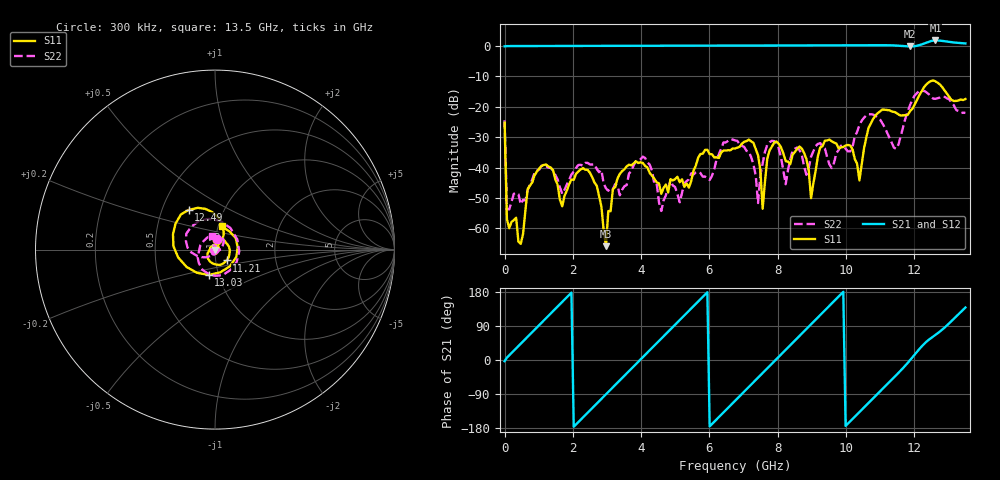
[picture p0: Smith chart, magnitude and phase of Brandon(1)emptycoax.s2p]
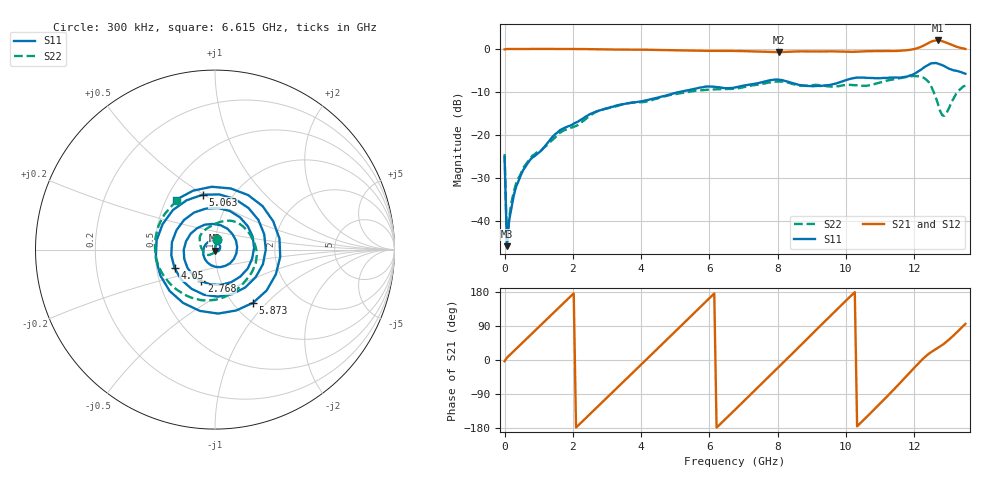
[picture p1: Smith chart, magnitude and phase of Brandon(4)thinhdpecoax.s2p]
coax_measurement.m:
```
%Constants
eps0=8.85418782e-12; % F/m
mu0=1.2566370614e-6; % H/m
c0=1/sqrt(eps0*mu0);
eta0 = sqrt(mu0/eps0);
width1 = 0.005; %1/2 cm
width2 = 0.01; % 1 cm
width3 = 0.02; % 2 cm
%% Get data
air_file = 'Brandon(1)emptycoax.s2p';
frequency = dlmread(air_file,' ',9,0,[9 0 209 0])/1e9;
air_m11 = dlmread(air_file,' ',9,1,[9 1 209 1]);
air_p11 = dlmread(air_file,' ',9,2,[9 2 209 2]);
air_m21 = dlmread(air_file,' ',9,3,[9 3 209 3]);
air_p21 = dlmread(air_file,' ',9,4,[9 4 209 4]);
air_m12 = dlmread(air_file,' ',9,5,[9 5 209 5]);
air_p12 = dlmread(air_file,' ',9,6,[9 6 209 6]);
amp21=10.^(air_m21/20);
phase21=unwrap(air_p21/180*pi);
amp12=10.^(air_m12/20);
phase12=unwrap(air_p12/180*pi);
s21_a=amp21.*exp(1i*phase21);
s12_a=amp12.*exp(1i*phase12);

thin_file = 'Brandon(4)thinhdpecoax.s2p';
thin_m11 = dlmread(thin_file,' ',9,1,[9 1 209 1]);
thin_p11 = dlmread(thin_file,' ',9,2,[9 2 209 2]);
thin_m21 = dlmread(thin_file,' ',9,3,[9 3 209 3]);
thin_p21 = dlmread(thin_file,' ',9,4,[9 4 209 4]);
thin_m12 = dlmread(thin_file,' ',9,5,[9 5 209 5]);
thin_p12 = dlmread(thin_file,' ',9,6,[9 6 209 6]);
thin_amp21=10.^(thin_m21/20);
thin_phase21=unwrap(thin_p21/180*pi);
thin_amp12=10.^(thin_m12/20);
thin_phase12=unwrap(thin_p12/180*pi);
s21_thin=thin_amp21.*exp(1i*thin_phase21);
s12_thin=thin_amp12.*exp(1i*thin_phase12);

medium_file = 'Brandon(3)medhdpecoax.s2p';
med_m11 = dlmread(medium_file,' ',9,1,[9 1 209 1]);
med_p11 = dlmread(medium_file,' ',9,2,[9 2 209 2]);
med_m21 = dlmread(medium_file,' ',9,3,[9 3 209 3]);
med_p21 = dlmread(medium_file,' ',9,4,[9 4 209 4]);
med_m12 = dlmread(medium_file,' ',9,5,[9 5 209 5]);
med_p12 = dlmread(medium_file,' ',9,6,[9 6 209 6]);
med_amp21=10.^(med_m21/20);
med_phase21=unwrap(med_p21/180*pi);
med_amp12=10.^(med_m12/20);
med_phase12=unwrap(med_p12/180*pi);
s21_med=med_amp21.*exp(1i*med_phase21);
s12_med=med_amp12.*exp(1i*med_phase12);

thick_file = 'Brandon(2)thickhdpecoax.s2p';
thick_m11 = dlmread(thick_file,' ',9,1,[9 1 209 1]);
thick_p11 = dlmread(thick_file,' ',9,2,[9 2 209 2]);
thick_m21 = dlmread(thick_file,' ',9,3,[9 3 209 3]);
thick_p21 = dlmread(thick_file,' ',9,4,[9 4 209 4]);
thick_m12 = dlmread(thick_file,' ',9,5,[9 5 209 5]);
thick_p12 = dlmread(thick_file,' ',9,6,[9 6 209 6]);
thick_amp21=10.^(thick_m21/20);
thick_phase21=unwrap(thick_p21/180*pi);
thick_amp12=10.^(thick_m12/20);
thick_phase12=unwrap(thick_p12/180*pi);
s21_thick=thick_amp21.*exp(1i*thick_phase21);
s12_thick=thick_amp12.*exp(1i*thick_phase12);

%waveguide propagation factor in air (no sample)
omega21=2*pi*air_p21;
g021=1i*sqrt(omega21.*omega21*1*1/c0/c0);
omega12=2*pi*air_p12;
g012=1i*sqrt(omega12.*omega12*1*1/c0/c0);
time21=abs(ifft(s21_a(:,1),2001));
time12=abs(ifft(s21_med(:,1),2001));

%{
thin_s21=s21_thin.*exp(-g021*width1);
thin_s12=s12_thin.*exp(-g012*width1);
%thin_s21=s21_thin./s21_a.*exp(-g021*width1);
%thin_s12=s12_thin./s12_a.*exp(-g012*width1);
thin_erx = zeros(size(frequency));
for i=1:length(frequency)
    f=frequency(i);
    tt = fsolve(@(xx) get_s21v2(xx,f,width1,thin_s21(i),thin_s12(i)),[1;0]);
    thin_erx(i)=tt(1)+1i*tt(2);
    
end

med_s21=s21_med./s21_a.*exp(-g021*width2);
med_s12=s12_med./s12_a.*exp(-g012*width2);
med_erx = zeros(size(frequency));
for i=1:length(frequency)
    f=frequency(i);
    tt = fsolve(@(xx) get_s21v2(xx,f,width2,med_s21(i),med_s12(i)),[1;0]);
    med_erx(i)=tt(1)+1i*tt(2);
    
end

thick_s21=s21_thick./s21_a.*exp(-g021*width3);
thick_s12=s12_thick./s12_a.*exp(-g012*width3);
thick_erx = zeros(size(frequency));
for i=1:length(frequency)
    f=frequency(i);
    tt = fsolve(@(xx) get_s21v2(xx,f,width3,thick_s21(i),thick_s12(i)),[1;0]);
    thick_erx(i)=tt(1)+1i*tt(2);
    
end
%}
subplot(2,2,1)
plot(frequency, air_m11, frequency, thin_m11, frequency, med_m11, frequency, thick_m11)
%legend({'air','thin','medium','thick'},'Location', 'southeast')
title('Reflection Magnitude')
xlabel('Frequency (GHz)')
ylabel('Magnitude (dB)')
ylim([-70 0])
xlim([0 12])
grid on
subplot(2,2,2)
plot(frequency, (air_p11), frequency, (thin_p11), frequency, (med_p11), frequency, (thick_p11))
%legend({'air','thin','medium','thick'},'Location', 'southeast')
title('Reflection Phase')
xlabel('Frequency (GHz)')
ylabel('Phase (degrees)')
xlim([0 12])
grid on
subplot(2,2,3)
plot(frequency, air_m21, frequency, thin_m21, frequency, med_m21, frequency, thick_m21)
legend({'air','thin','medium','thick'},'Location', 'southwest')
title('Transmission Magnitude')
xlabel('Frequency (GHz)')
ylabel('Magnitude (dB)')
ylim([-7 2])
xlim([0 12])
grid on
subplot(2,2,4)
plot(frequency, (air_p21), frequency, (thin_p21), frequency, (med_p21), frequency, (thick_p21))
%legend({'air','thin','medium','thick'},'Location', 'southwest')
title('Transmission Phase')
xlabel('Frequency (GHz)')
ylabel('Phase (degrees)')
xlim([0 12])
grid on
%set(gca,'fontsize', 12);
figure;
subplot(2,1,1)
plot(real(time21))
subplot(2,1,2)
plot(real(time12))
%{
figure;
subplot(2,1,1)
plot(frequency, real(thick_erx), frequency, real(med_erx), frequency, real(thin_erx))
legend('thick','medium','thin')
title('Real Permittivity')
subplot(2,1,2)
plot(frequency, imag(thick_erx), frequency, imag(med_erx), frequency, imag(thin_erx))
legend('thick','medium','thin')
title('Imaginary   Permittivity')
%}
```
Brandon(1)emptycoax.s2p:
!Agilent Technologies,N5230C,MY48100320,A.08.04.10
!Agilent N5230C: A.08.04.10
!Date: Thursday, July 07, 2016 05:03:17
!Correction: S11(Full 2 Port(1,2))
!S21(Full 2 Port(1,2))
!S12(Full 2 Port(1,2))
!S22(Full 2 Port(1,2))
!S2P File: Measurements: S11, S21, S12, S22:
# Hz S  dB  R 50
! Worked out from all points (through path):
!   201 points, 300 kHz to 13.5 GHz, reference 50 ohm
!   highest |S21| = 1.86 dB at 12.62 GHz (marker M1); lowest = -0.1 dB at 11.88 GHz (marker M2)
!   lowest |S11| = -65.9 dB at 2.97 GHz (marker M3), VSWR 1.00, Z = 50 + j0.0453 ohm
!   |S11| at or under -10 dB: start of sweep to end of sweep
!   |S22| runs from -54.3 to -14.7 dB; largest |S21 - S12| = 0.0025
!   S11 on the Smith chart (normalised r, x): 300 kHz: 1.01, +0.11; 11.21 GHz: 1.13, -0.14; 12.49 GHz: 0.68, +0.32; 13.03 GHz: 0.90, -0.26; 13.5 GHz: 1.04, +0.27
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300000  -25.21 80.7  -0.08 -3.2  -0.08 -3.3  -24.40 77.3
2.970234e9  -65.86 117.2  0.09 -90.5  0.09 -90.5  -46.81 91.2
4.92769e9  -44.22 -11.8  0.14 87.0  0.14 87.0  -45.88 -29.4
6.75015e9  -33.71 58.9  0.16 -107.8  0.17 -107.8  -31.02 -120.3
8.910102e9  -40.83 136.5  0.22 88.0  0.22 88.0  -40.10 -69.5
1.120505e10  -21.04 -43.2  0.30 -64.2  0.30 -64.1  -28.45 17.4
1.188004e10  -21.41 57.9  -0.12 -0.3  -0.13 -0.2  -19.37 -161.7
1.248752e10  -11.52 123.7  1.65 57.5  1.65 57.6  -16.60 54.4
1.262252e10  -11.60 147.0  1.86 66.2  1.85 66.3  -17.35 -4.2
1.302751e10  -16.72 -103.8  1.38 97.0  1.38 96.9  -17.54 -121.7
1.35e10  -17.42 73.8  0.89 138.5  0.89 138.5  -21.97 103.5
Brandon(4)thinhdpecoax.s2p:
!Agilent Technologies,N5230C,MY48100320,A.08.04.10
!Agilent N5230C: A.08.04.10
!Date: Thursday, July 07, 2016 05:45:58
!Correction: S11(Full 2 Port(1,2))
!S21(Full 2 Port(1,2))
!S12(Full 2 Port(1,2))
!S22(Full 2 Port(1,2))
!S2P File: Measurements: S11, S21, S12, S22:
# Hz S  dB  R 50
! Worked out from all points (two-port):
!   201 points, 300 kHz to 13.5 GHz, reference 50 ohm
!   highest |S21| = 2.00 dB at 12.69 GHz (marker M1); lowest = -0.7 dB at 8.033 GHz (marker M2)
!   |S21| within 3 dB of the highest: start of sweep to end of sweep
!   lowest |S11| = -45.9 dB at 67.8 MHz (marker M3), VSWR 1.01, Z = 50 - j0.507 ohm
!   |S11| at or under -10 dB: start of sweep to 5.115 GHz
!   |S22| runs from -44.7 to -6.3 dB; largest |S21 - S12| = 0.0034
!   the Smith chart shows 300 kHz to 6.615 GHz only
!   S11 on the Smith chart (normalised r, x): 300 kHz: 1.01, +0.11; 2.768 GHz: 0.81, -0.30; 4.05 GHz: 0.62, -0.14; 5.063 GHz: 0.73, +0.49; 5.873 GHz: 1.23, -0.84; 6.615 GHz: 0.56, +0.36
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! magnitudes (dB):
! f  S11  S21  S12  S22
! 300 kHz  -25.2  -0.1  -0.1  -24.4
! 67.8 MHz  -45.9  0.0  0.0  -44.7
! 2.768 GHz  -14.3  -0.1  -0.1  -14.3
! 4.05 GHz  -12.1  -0.1  -0.1  -12.4
! 5.063 GHz  -10.1  -0.3  -0.3  -10.4
! 5.873 GHz  -8.8  -0.4  -0.4  -9.5
! 6.615 GHz  -9.1  -0.4  -0.4  -9.3
! 6.75 GHz  -8.9  -0.4  -0.4  -9.2
! 8.033 GHz  -7.1  -0.7  -0.7  -7.5
! 12.69 GHz  -3.4  2.0  2.0  -12.7
! 13.5 GHz  -5.7  0.0  0.0  -8.5
